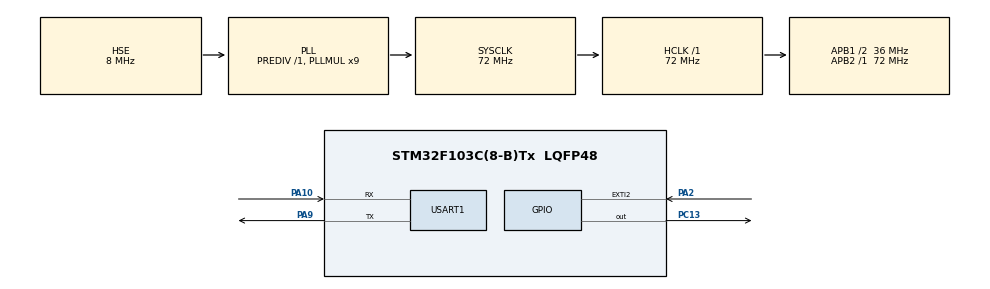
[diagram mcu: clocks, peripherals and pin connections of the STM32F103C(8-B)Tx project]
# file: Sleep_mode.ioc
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Mcu.Family=STM32F1
Mcu.Name=STM32F103C(8-B)Tx
Mcu.Package=LQFP48
NVIC.EXTI2_IRQn=true\:1\:0\:true\:false\:true\:true\:true\:true
NVIC.PriorityGroup=NVIC_PRIORITYGROUP_4
NVIC.USART1_IRQn=true\:1\:0\:true\:false\:true\:true\:true\:true
PA10.Mode=Asynchronous
PA10.Signal=USART1_RX
PA13.Mode=Serial_Wire
PA13.Signal=SYS_JTMS-SWDIO
PA14.Mode=Serial_Wire
PA14.Signal=SYS_JTCK-SWCLK
PA2.Signal=GPXTI2
PA9.Mode=Asynchronous
PA9.Signal=USART1_TX
PC13-TAMPER-RTC.GPIO_PuPd=GPIO_PULLUP
PC13-TAMPER-RTC.Signal=GPIO_Output
PD0-OSC_IN.Mode=HSE-External-Oscillator
PD0-OSC_IN.Signal=RCC_OSC_IN
PD1-OSC_OUT.Mode=HSE-External-Oscillator
PD1-OSC_OUT.Signal=RCC_OSC_OUT
ProjectManager.HeapSize=0x200
ProjectManager.StackSize=0x400
ProjectManager.TargetToolchain=STM32CubeIDE
RCC.AHBFreq_Value=72000000
RCC.APB1CLKDivider=RCC_HCLK_DIV2
RCC.APB1Freq_Value=36000000
RCC.APB1TimFreq_Value=72000000
RCC.APB2Freq_Value=72000000
RCC.APB2TimFreq_Value=72000000
RCC.HCLKFreq_Value=72000000
RCC.PLLMUL=RCC_PLL_MUL9
RCC.PLLSourceVirtual=RCC_PLLSOURCE_HSE
RCC.SYSCLKFreq_VALUE=72000000
RCC.SYSCLKSource=RCC_SYSCLKSOURCE_PLLCLK
RCC.USBFreq_Value=72000000
USART1.VirtualMode=VM_ASYNC
board=custom

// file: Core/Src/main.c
/* USER CODE BEGIN Header */
/**
  ******************************************************************************
  * @file           : main.c
  * @brief          : Main program body
  ******************************************************************************
  * @attention
  *
  * Copyright (c) 2026 STMicroelectronics.
  * All rights reserved.
  *
  * This software is licensed under terms that can be found in the LICENSE file
  * in the root directory of this software component.
  * If no LICENSE file comes with this software, it is provided AS-IS.
  *
  ******************************************************************************
  */
/* USER CODE END Header */
#include "main.h"

UART_HandleTypeDef huart1;

/* USER CODE BEGIN PV */
uint8_t flag=0;
/* USER CODE END PV */

void SystemClock_Config(void);
static void MX_GPIO_Init(void);
static void MX_USART1_UART_Init(void);
/* USER CODE BEGIN PFP */
void EXTI1_Event_Config(void)
{
    /* 1. Enable clock */
    RCC->APB2ENR |= RCC_APB2ENR_IOPAEN;
    RCC->APB2ENR |= RCC_APB2ENR_AFIOEN;

    /* 2. PA1 input floating */
    GPIOA->CRL &= ~(0xF << 4);   // PA1 nằm ở CRL1 (bit 4–7)
    GPIOA->CRL |=  (0x4 << 4);   // CNF=01 MODE=00

    /* 3. Map EXTI1 -> PA1 */
    AFIO->EXTICR[0] &= ~(0xF << 4); // EXTI1 selection field
    // PA = 0000 nên không cần OR thêm

    /* 4. Rising edge trigger */
    EXTI->RTSR |= (1 << 1);
    EXTI->FTSR &= ~(1 << 1);

    /* 5. Enable EVENT (quan tr�?ng) */
    EXTI->EMR |= (1 << 1);

    /* 6. Disable interrupt */
    EXTI->IMR &= ~(1 << 1);

    /* 7. Clear pending flag */
    EXTI->PR = (1 << 1);
}

void HAL_GPIO_EXTI_Callback(uint16_t GPIO_Pin)
{
    if (GPIO_Pin == GPIO_PIN_1)   // PA1
    {
    	flag=1;
    }
}
/* USER CODE END PFP */

int main(void)
{

  /* MCU Configuration--------------------------------------------------------*/

  /* Reset of all peripherals, Initializes the Flash interface and the Systick. */
  HAL_Init();

  /* Configure the system clock */
  SystemClock_Config();

  /* Initialize all configured peripherals */
  MX_GPIO_Init();
  MX_USART1_UART_Init();
  /* USER CODE BEGIN 2 */
	EXTI1_Event_Config();
  /* USER CODE END 2 */

  /* Infinite loop */
  /* USER CODE BEGIN WHILE */
  while (1)
  {

	  HAL_GPIO_WritePin(GPIOC, GPIO_PIN_13,0);
	  HAL_Delay(5000);
	  HAL_SuspendTick();
	  HAL_GPIO_WritePin(GPIOC, GPIO_PIN_13, 1);

	  HAL_PWR_EnterSLEEPMode(PWR_MAINREGULATOR_ON, PWR_SLEEPENTRY_WFE);
	  HAL_ResumeTick();
		  for (int i=0;i<=10;i++){
			  HAL_GPIO_TogglePin(GPIOC, GPIO_PIN_13);
			  HAL_Delay(500);
		  }

    /* USER CODE END WHILE */

  }
}

void SystemClock_Config(void)
{
  RCC_OscInitTypeDef RCC_OscInitStruct = {0};
  RCC_ClkInitTypeDef RCC_ClkInitStruct = {0};

  /** Initializes the RCC Oscillators according to the specified parameters
  * in the RCC_OscInitTypeDef structure.
  */
  RCC_OscInitStruct.OscillatorType = RCC_OSCILLATORTYPE_HSE;
  RCC_OscInitStruct.HSEState = RCC_HSE_ON;
  RCC_OscInitStruct.HSEPredivValue = RCC_HSE_PREDIV_DIV1;
  RCC_OscInitStruct.HSIState = RCC_HSI_ON;
  RCC_OscInitStruct.PLL.PLLState = RCC_PLL_ON;
  RCC_OscInitStruct.PLL.PLLSource = RCC_PLLSOURCE_HSE;
  RCC_OscInitStruct.PLL.PLLMUL = RCC_PLL_MUL9;
  if (HAL_RCC_OscConfig(&RCC_OscInitStruct) != HAL_OK)
  {
    Error_Handler();
  }

  /** Initializes the CPU, AHB and APB buses clocks
  */
  RCC_ClkInitStruct.ClockType = RCC_CLOCKTYPE_HCLK|RCC_CLOCKTYPE_SYSCLK
                              |RCC_CLOCKTYPE_PCLK1|RCC_CLOCKTYPE_PCLK2;
  RCC_ClkInitStruct.SYSCLKSource = RCC_SYSCLKSOURCE_PLLCLK;
  RCC_ClkInitStruct.AHBCLKDivider = RCC_SYSCLK_DIV1;
  RCC_ClkInitStruct.APB1CLKDivider = RCC_HCLK_DIV2;
  RCC_ClkInitStruct.APB2CLKDivider = RCC_HCLK_DIV1;

  if (HAL_RCC_ClockConfig(&RCC_ClkInitStruct, FLASH_LATENCY_2) != HAL_OK)
  {
    Error_Handler();
  }
}

static void MX_USART1_UART_Init(void)
{

  huart1.Instance = USART1;
  huart1.Init.BaudRate = 115200;
  huart1.Init.WordLength = UART_WORDLENGTH_8B;
  huart1.Init.StopBits = UART_STOPBITS_1;
  huart1.Init.Parity = UART_PARITY_NONE;
  huart1.Init.Mode = UART_MODE_TX_RX;
  huart1.Init.HwFlowCtl = UART_HWCONTROL_NONE;
  huart1.Init.OverSampling = UART_OVERSAMPLING_16;
  if (HAL_UART_Init(&huart1) != HAL_OK)
  {
    Error_Handler();
  }

}

static void MX_GPIO_Init(void)
{
  GPIO_InitTypeDef GPIO_InitStruct = {0};

  /* GPIO Ports Clock Enable */
  __HAL_RCC_GPIOC_CLK_ENABLE();
  __HAL_RCC_GPIOD_CLK_ENABLE();
  __HAL_RCC_GPIOA_CLK_ENABLE();

  /*Configure GPIO pin Output Level */
  HAL_GPIO_WritePin(GPIOC, GPIO_PIN_13, GPIO_PIN_RESET);

  /*Configure GPIO pin : PC13 */
  GPIO_InitStruct.Pin = GPIO_PIN_13;
  GPIO_InitStruct.Mode = GPIO_MODE_OUTPUT_PP;
  GPIO_InitStruct.Pull = GPIO_PULLUP;
  GPIO_InitStruct.Speed = GPIO_SPEED_FREQ_LOW;
  HAL_GPIO_Init(GPIOC, &GPIO_InitStruct);

  /*Configure GPIO pin : PA2 */
  GPIO_InitStruct.Pin = GPIO_PIN_2;
  GPIO_InitStruct.Mode = GPIO_MODE_IT_RISING;
  GPIO_InitStruct.Pull = GPIO_NOPULL;
  HAL_GPIO_Init(GPIOA, &GPIO_InitStruct);

  /* EXTI interrupt init*/
  HAL_NVIC_SetPriority(EXTI2_IRQn, 1, 0);
  HAL_NVIC_EnableIRQ(EXTI2_IRQn);

}

void Error_Handler(void)
{
  __disable_irq();
  while (1)
  {
  }
}
